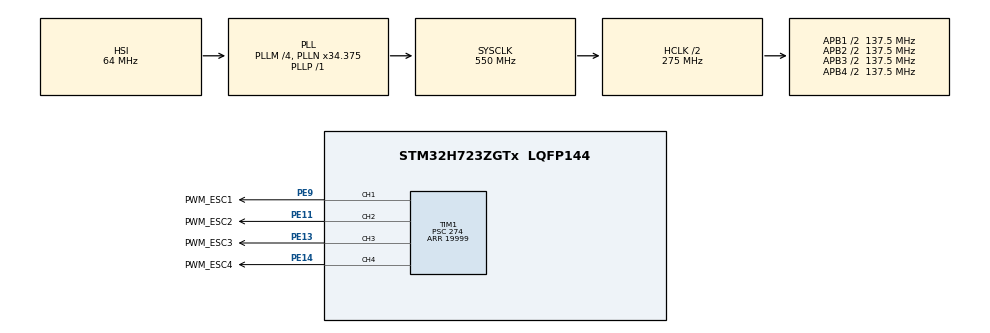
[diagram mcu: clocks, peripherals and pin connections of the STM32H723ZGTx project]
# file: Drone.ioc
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CORTEX_M7.default_mode_Activation=1
FREERTOS.Tasks01=CommTask,24,1024,System_CommTask,Default,NULL,Dynamic,NULL,NULL;LtimeTask,24,1024,System_LtimeTask,Default,NULL,Dynamic,NULL,NULL;ControlTask,40,1024,System_ControlTask,Default,NULL,Dynamic,NULL,NULL
FREERTOS.configCHECK_FOR_STACK_OVERFLOW=2
FREERTOS.configTOTAL_HEAP_SIZE=32768
FREERTOS.configUSE_MALLOC_FAILED_HOOK=1
Mcu.Family=STM32H7
Mcu.Name=STM32H723ZGTx
Mcu.Package=LQFP144
NUCLEO-H723ZG.BUTTON=1
NUCLEO-H723ZG.LD1=true
NUCLEO-H723ZG.LD2=true
NUCLEO-H723ZG.LD3=true
NUCLEO-H723ZG.VCP=true
NVIC.EXTI15_10_IRQn=true\:5\:0\:false\:false\:true\:true\:false\:true\:true
NVIC.PriorityGroup=NVIC_PRIORITYGROUP_4
NVIC.TIM6_DAC_IRQn=true\:15\:0\:false\:false\:true\:false\:false\:true\:true
NVIC.TIM7_IRQn=true\:5\:0\:false\:false\:true\:true\:true\:true\:true
NVIC.TimeBase=TIM6_DAC_IRQn
NVIC.TimeBaseIP=TIM6
PA13(JTMS/SWDIO).GPIO_Label=SWDIO
PA13(JTMS/SWDIO).Signal=DEBUG_JTMS-SWDIO
PA14(JTCK/SWCLK).GPIO_Label=SWCLK
PA14(JTCK/SWCLK).Signal=DEBUG_JTCK-SWCLK
PC14-OSC32_IN.Signal=RCC_OSC32_IN
PC15-OSC32_OUT.Signal=RCC_OSC32_OUT
PD8.Signal=USART3_TX
PD9.Signal=USART3_RX
PE11.GPIO_Label=PWM_ESC2
PE11.Signal=S_TIM1_CH2
PE13.GPIO_Label=PWM_ESC3
PE13.Signal=S_TIM1_CH3
PE14.GPIO_Label=PWM_ESC4
PE14.Signal=S_TIM1_CH4
PE9.GPIO_Label=PWM_ESC1
PE9.Signal=S_TIM1_CH1
ProjectManager.HeapSize=0x2000
ProjectManager.StackSize=0x4000
ProjectManager.TargetToolchain=EWARM V8.50
RCC.ADCFreq_Value=608000000
RCC.APB1Freq_Value=137500000
RCC.APB2Freq_Value=137500000
RCC.APB3Freq_Value=137500000
RCC.APB4Freq_Value=137500000
RCC.CortexFreq_Value=550000000
RCC.D1PPRE=RCC_APB3_DIV2
RCC.D2PPRE1=RCC_APB1_DIV2
RCC.D2PPRE2=RCC_APB2_DIV2
RCC.D3PPRE=RCC_APB4_DIV2
RCC.DIVM1=4
RCC.DIVM2=1
RCC.DIVN1=34
RCC.DIVN2=19
RCC.DIVP1=1
RCC.DIVQ1=4
RCC.HCLKFreq_Value=275000000
RCC.HPRE=RCC_HCLK_DIV2
RCC.HSE_VALUE=8000000
RCC.PLLFRACN=3072
RCC.SYSCLKFreq_VALUE=550000000
RCC.SYSCLKSource=RCC_SYSCLKSOURCE_PLLCLK
RCC.USBCLockSelection=RCC_USBCLKSOURCE_HSI48
RCC.USBFreq_Value=48000000
SH.S_TIM1_CH1.0=TIM1_CH1,PWM Generation1 CH1
SH.S_TIM1_CH2.0=TIM1_CH2,PWM Generation2 CH2
SH.S_TIM1_CH3.0=TIM1_CH3,PWM Generation3 CH3
SH.S_TIM1_CH4.0=TIM1_CH4,PWM Generation4 CH4
TIM1.AutoReloadPreload=TIM_AUTORELOAD_PRELOAD_ENABLE
TIM1.Channel-PWM\ Generation1\ CH1=TIM_CHANNEL_1
TIM1.Channel-PWM\ Generation2\ CH2=TIM_CHANNEL_2
TIM1.Channel-PWM\ Generation3\ CH3=TIM_CHANNEL_3
TIM1.Channel-PWM\ Generation4\ CH4=TIM_CHANNEL_4
TIM1.Period=19999
TIM1.Prescaler=274
TIM1.Pulse-PWM\ Generation1\ CH1=1000
TIM1.Pulse-PWM\ Generation2\ CH2=1000
TIM1.Pulse-PWM\ Generation3\ CH3=1000
TIM7.AutoReloadPreload=TIM_AUTORELOAD_PRELOAD_ENABLE
TIM7.Period=999
TIM7.Prescaler=274
VP_FREERTOS_VS_CMSIS_V2.Mode=CMSIS_V2
VP_MEMORYMAP_VS_MEMORYMAP.Mode=CurAppReg
VP_NUCLEO-H723ZG_VS_BSP_COMMON.Mode=COMMON
VP_SYS_VS_tim6.Mode=TIM6
VP_TIM1_VS_ClockSourceINT.Mode=Internal
VP_TIM7_VS_ClockSourceINT.Mode=Enable_Timer
board=NUCLEO-H723ZG

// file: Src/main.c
/* USER CODE BEGIN Header */
/**
  ******************************************************************************
  * @file           : main.c
  * @brief          : Main program body
  ******************************************************************************
  * @attention
  *
  * Copyright (c) 2026 STMicroelectronics.
  * All rights reserved.
  *
  * This software is licensed under terms that can be found in the LICENSE file
  * in the root directory of this software component.
  * If no LICENSE file comes with this software, it is provided AS-IS.
  *
  ******************************************************************************
  */
/* USER CODE END Header */
#include "main.h"
#include "FreeRTOS.h"
#include "cmsis_os2.h"
#include "tim.h"
#include "gpio.h"

/* USER CODE BEGIN Includes */
#include "headers.h"

/* USER CODE END Includes */

COM_InitTypeDef BspCOMInit;

void SystemClock_Config(void);
static void MPU_Config(void);
void MX_FREERTOS_Init(void);

int main(void)
{

  /* MPU Configuration--------------------------------------------------------*/
  MPU_Config();

  /* MCU Configuration--------------------------------------------------------*/

  /* Reset of all peripherals, Initializes the Flash interface and the Systick. */
  HAL_Init();

  /* Configure the system clock */
  SystemClock_Config();

  /* Initialize all configured peripherals */
  MX_GPIO_Init();
  MX_TIM1_Init();
  MX_TIM7_Init();
  /* USER CODE BEGIN 2 */

	Init_Var();
	Init_Const();
	ESC_Control_Init();
	Init_ESC_Init();
	App_Main_Init();
	Control_Loop_Init();
  /* USER CODE END 2 */

  /* Init scheduler */
  osKernelInitialize();  /* Call init function for freertos objects (in cmsis_os2.c) */
  MX_FREERTOS_Init();

  /* Initialize leds */
  BSP_LED_Init(LED_GREEN);
  BSP_LED_Init(LED_YELLOW);
  BSP_LED_Init(LED_RED);

  /* Initialize USER push-button, will be used to trigger an interrupt each time it's pressed.*/
  BSP_PB_Init(BUTTON_USER, BUTTON_MODE_EXTI);

  /* Initialize COM1 port (115200, 8 bits (7-bit data + 1 stop bit), no parity */
  BspCOMInit.BaudRate   = 115200;
  BspCOMInit.WordLength = COM_WORDLENGTH_8B;
  BspCOMInit.StopBits   = COM_STOPBITS_1;
  BspCOMInit.Parity     = COM_PARITY_NONE;
  BspCOMInit.HwFlowCtl  = COM_HWCONTROL_NONE;
  if (BSP_COM_Init(COM1, &BspCOMInit) != BSP_ERROR_NONE)
  {
    Error_Handler();
  }

  /* Start scheduler */
  osKernelStart();

  /* We should never get here as control is now taken by the scheduler */

  /* Infinite loop */
  while (1)
  {

  }
}

void SystemClock_Config(void)
{
  RCC_OscInitTypeDef RCC_OscInitStruct = {0};
  RCC_ClkInitTypeDef RCC_ClkInitStruct = {0};

  /** Supply configuration update enable
  */
  HAL_PWREx_ConfigSupply(PWR_LDO_SUPPLY);

  /** Configure the main internal regulator output voltage
  */
  __HAL_PWR_VOLTAGESCALING_CONFIG(PWR_REGULATOR_VOLTAGE_SCALE0);

  while(!__HAL_PWR_GET_FLAG(PWR_FLAG_VOSRDY)) {}

  /** Initializes the RCC Oscillators according to the specified parameters
  * in the RCC_OscInitTypeDef structure.
  */
  RCC_OscInitStruct.OscillatorType = RCC_OSCILLATORTYPE_HSI;
  RCC_OscInitStruct.HSIState = RCC_HSI_DIV1;
  RCC_OscInitStruct.HSICalibrationValue = 64;
  RCC_OscInitStruct.PLL.PLLState = RCC_PLL_ON;
  RCC_OscInitStruct.PLL.PLLSource = RCC_PLLSOURCE_HSI;
  RCC_OscInitStruct.PLL.PLLM = 4;
  RCC_OscInitStruct.PLL.PLLN = 34;
  RCC_OscInitStruct.PLL.PLLP = 1;
  RCC_OscInitStruct.PLL.PLLQ = 4;
  RCC_OscInitStruct.PLL.PLLR = 2;
  RCC_OscInitStruct.PLL.PLLRGE = RCC_PLL1VCIRANGE_3;
  RCC_OscInitStruct.PLL.PLLVCOSEL = RCC_PLL1VCOWIDE;
  RCC_OscInitStruct.PLL.PLLFRACN = 3072;
  if (HAL_RCC_OscConfig(&RCC_OscInitStruct) != HAL_OK)
  {
    Error_Handler();
  }

  /** Initializes the CPU, AHB and APB buses clocks
  */
  RCC_ClkInitStruct.ClockType = RCC_CLOCKTYPE_HCLK|RCC_CLOCKTYPE_SYSCLK
                              |RCC_CLOCKTYPE_PCLK1|RCC_CLOCKTYPE_PCLK2
                              |RCC_CLOCKTYPE_D3PCLK1|RCC_CLOCKTYPE_D1PCLK1;
  RCC_ClkInitStruct.SYSCLKSource = RCC_SYSCLKSOURCE_PLLCLK;
  RCC_ClkInitStruct.SYSCLKDivider = RCC_SYSCLK_DIV1;
  RCC_ClkInitStruct.AHBCLKDivider = RCC_HCLK_DIV2;
  RCC_ClkInitStruct.APB3CLKDivider = RCC_APB3_DIV2;
  RCC_ClkInitStruct.APB1CLKDivider = RCC_APB1_DIV2;
  RCC_ClkInitStruct.APB2CLKDivider = RCC_APB2_DIV2;
  RCC_ClkInitStruct.APB4CLKDivider = RCC_APB4_DIV2;

  if (HAL_RCC_ClockConfig(&RCC_ClkInitStruct, FLASH_LATENCY_3) != HAL_OK)
  {
    Error_Handler();
  }
}

 /* MPU Configuration */

void MPU_Config(void)
{
  MPU_Region_InitTypeDef MPU_InitStruct = {0};

  /* Disables the MPU */
  HAL_MPU_Disable();

  /** Initializes and configures the Region and the memory to be protected
  */
  MPU_InitStruct.Enable = MPU_REGION_ENABLE;
  MPU_InitStruct.Number = MPU_REGION_NUMBER0;
  MPU_InitStruct.BaseAddress = 0x0;
  MPU_InitStruct.Size = MPU_REGION_SIZE_4GB;
  MPU_InitStruct.SubRegionDisable = 0x87;
  MPU_InitStruct.TypeExtField = MPU_TEX_LEVEL0;
  MPU_InitStruct.AccessPermission = MPU_REGION_NO_ACCESS;
  MPU_InitStruct.DisableExec = MPU_INSTRUCTION_ACCESS_DISABLE;
  MPU_InitStruct.IsShareable = MPU_ACCESS_SHAREABLE;
  MPU_InitStruct.IsCacheable = MPU_ACCESS_NOT_CACHEABLE;
  MPU_InitStruct.IsBufferable = MPU_ACCESS_NOT_BUFFERABLE;

  HAL_MPU_ConfigRegion(&MPU_InitStruct);
  /* Enables the MPU */
  HAL_MPU_Enable(MPU_PRIVILEGED_DEFAULT);

}

void HAL_TIM_PeriodElapsedCallback(TIM_HandleTypeDef *htim)
{
  if (htim->Instance == TIM6)
  {
    HAL_IncTick();
  }
  /* USER CODE BEGIN Callback 1 */

	if (htim->Instance == TIM7)
	{
    bT1mSec = 1;
  }
  /* USER CODE END Callback 1 */
}

void Error_Handler(void)
{
  __disable_irq();
  while (1)
  {
  }
}

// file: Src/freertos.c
/* USER CODE BEGIN Header */
/**
  ******************************************************************************
  * File Name          : freertos.c
  * Description        : Code for freertos applications
  ******************************************************************************
  * @attention
  *
  * Copyright (c) 2026 STMicroelectronics.
  * All rights reserved.
  *
  * This software is licensed under terms that can be found in the LICENSE file
  * in the root directory of this software component.
  * If no LICENSE file comes with this software, it is provided AS-IS.
  *
  ******************************************************************************
  */
/* USER CODE END Header */

#include "FreeRTOS.h"
#include "task.h"
#include "main.h"
#include "FreeRTOS.h"
#include "cmsis_os2.h"

/* USER CODE BEGIN Includes */
#include "headers.h"
/* USER CODE END Includes */

/* Definitions for CommTask */
osThreadId_t CommTaskHandle;
const osThreadAttr_t CommTask_attributes = {
  .name = "CommTask",
  .stack_size = 1024 * 4,
  .priority = (osPriority_t) osPriorityNormal,
};
/* Definitions for LtimeTask */
osThreadId_t LtimeTaskHandle;
const osThreadAttr_t LtimeTask_attributes = {
  .name = "LtimeTask",
  .stack_size = 1024 * 4,
  .priority = (osPriority_t) osPriorityNormal,
};
/* Definitions for ControlTask */
osThreadId_t ControlTaskHandle;
const osThreadAttr_t ControlTask_attributes = {
  .name = "ControlTask",
  .stack_size = 1024 * 4,
  .priority = (osPriority_t) osPriorityHigh,
};

void System_CommTask(void *argument);
void System_LtimeTask(void *argument);
void System_ControlTask(void *argument);

void MX_FREERTOS_Init(void); /* (MISRA C 2004 rule 8.1) */

/* Hook prototypes */
void vApplicationStackOverflowHook(xTaskHandle xTask, char *pcTaskName);
void vApplicationMallocFailedHook(void);

/* USER CODE BEGIN 4 */
void vApplicationStackOverflowHook(xTaskHandle xTask, char *pcTaskName)
{
   /* Run time stack overflow checking is performed if
   configCHECK_FOR_STACK_OVERFLOW is defined to 1 or 2. This hook function is
   called if a stack overflow is detected. */
}
/* USER CODE END 4 */

/* USER CODE BEGIN 5 */
void vApplicationMallocFailedHook(void)
{
   /* vApplicationMallocFailedHook() will only be called if
   configUSE_MALLOC_FAILED_HOOK is set to 1 in FreeRTOSConfig.h. It is a hook
   function that will get called if a call to pvPortMalloc() fails.
   pvPortMalloc() is called internally by the kernel whenever a task, queue,
   timer or semaphore is created. It is also called by various parts of the
   demo application. If heap_1.c or heap_2.c are used, then the size of the
   heap available to pvPortMalloc() is defined by configTOTAL_HEAP_SIZE in
   FreeRTOSConfig.h, and the xPortGetFreeHeapSize() API function can be used
   to query the size of free heap space that remains (although it does not
   provide information on how the remaining heap might be fragmented). */
}
/* USER CODE END 5 */

void MX_FREERTOS_Init(void) {

  /* Create the thread(s) */
  /* creation of CommTask */
  CommTaskHandle = osThreadNew(System_CommTask, NULL, &CommTask_attributes);

  /* creation of LtimeTask */
  LtimeTaskHandle = osThreadNew(System_LtimeTask, NULL, &LtimeTask_attributes);

  /* creation of ControlTask */
  ControlTaskHandle = osThreadNew(System_ControlTask, NULL, &ControlTask_attributes);

}

void System_CommTask(void *argument)
{
  for(;;)
  {
    osDelay(1);
  }
}

void System_LtimeTask(void *argument)
{
  /* USER CODE BEGIN System_LtimeTask */
	SetTimer(TID_BASE_10mSEC,	  TID_10mSEC,	  Time_10mSEC_Action);
  SetTimer(TID_BASE_50mSEC,	  TID_50mSEC,	  Time_50mSEC_Action);
  SetTimer(TID_BASE_100mSEC,  TID_100mSEC,	Time_100mSEC_Action);
  SetTimer(TID_BASE_200mSEC,	TID_200mSEC,	Time_200mSEC_Action);
  SetTimer(TID_BASE_500mSEC,	TID_500mSEC,	Time_500mSEC_Action);
	SetTimer(TID_BASE_1SEC,			TID_1SEC,			Time_1000mSEC_Action);

	HAL_TIM_Base_Start_IT(&htim7);    //MAKE 1mSEC Timer
  /* Infinite loop */
  for(;;)
  {
    osDelay(1);

		 Task_Chk_Cnt[3]++;

		Time_1mSEC_Action();

    SetTimer_Check();
  }
  /* USER CODE END System_LtimeTask */
}

void System_ControlTask(void *argument)
{
  /* USER CODE BEGIN System_ControlTask */
  /* Infinite loop */
  for(;;)
  {
    osDelay(1);
    Control_Loop_Update();
  }
  /* USER CODE END System_ControlTask */
}
